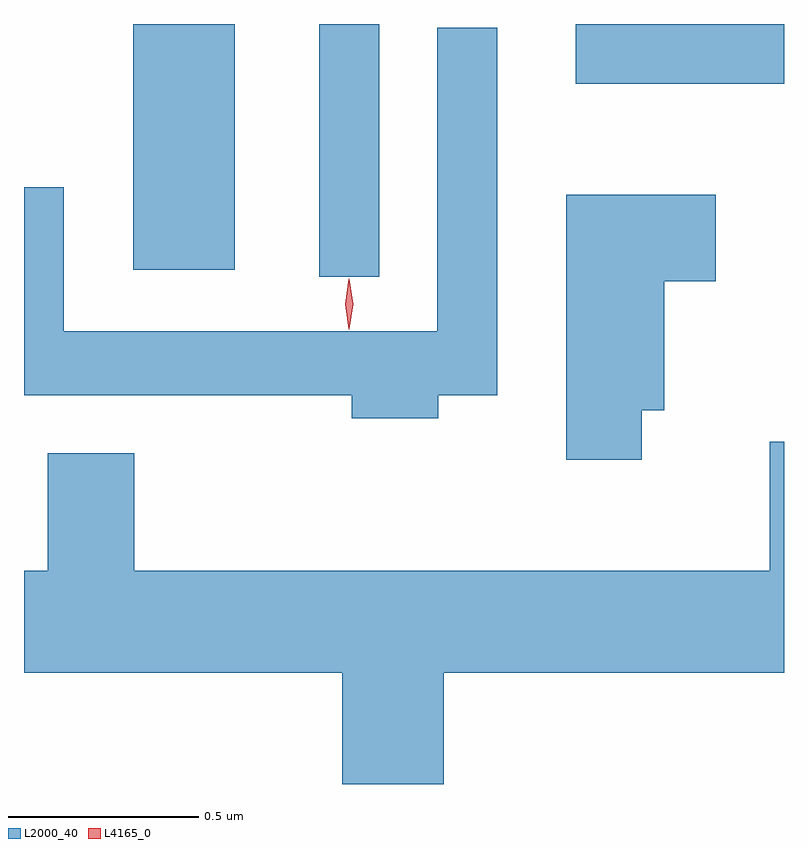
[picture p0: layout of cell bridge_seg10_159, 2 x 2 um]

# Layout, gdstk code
import gdstk
lib = gdstk.Library(unit=1e-6, precision=1e-09)
def R(c, l, rs):  # rectangles x0, y0, x1, y1
    for r in rs: c.add(gdstk.rectangle(r[:2], r[2:], *l))
def P(c, l, *ps):  # polygons
    for p in ps: c.add(gdstk.Polygon(p, *l))
L2000_40 = (2000, 40)
L4165_0 = (4165, 0)

bridge_seg10_159 = lib.new_cell('bridge_seg10_159')
R(bridge_seg10_159, L2000_40, [(1633.596,2099.418,1633.754,2100.083), (1633.106,2099.436,1633.374,2100.083), (1634.271,2099.926,1634.819,2100.083)])
P(bridge_seg10_159, L2000_40, [(1633.909,2099.106),(1634.064,2099.106),(1634.064,2100.073),(1633.906,2100.073),(1633.906,2099.274),(1632.924,2099.274),(1632.924,2099.653),(1632.819,2099.653),(1632.819,2099.106),(1633.681,2099.106),(1633.681,2099.046),(1633.909,2099.046)],
  [(1634.444,2099.066),(1634.504,2099.066),(1634.504,2099.406),(1634.639,2099.406),(1634.639,2099.634),(1634.246,2099.634),(1634.246,2098.936),(1634.444,2098.936)],
  [(1633.924,2098.376),(1634.819,2098.376),(1634.819,2098.984),(1634.781,2098.984),(1634.781,2098.644),(1633.109,2098.644),(1633.109,2098.954),(1632.881,2098.954),(1632.881,2098.644),(1632.819,2098.644),(1632.819,2098.376),(1633.656,2098.376),(1633.656,2098.083),(1633.924,2098.083)])
P(bridge_seg10_159, L4165_0, [(1633.675,2099.279),(1633.674,2099.28),(1633.665,2099.346),(1633.674,2099.412),(1633.675,2099.413),(1633.675,2099.412),(1633.685,2099.346),(1633.675,2099.28)])

lib.write_gds('bridge_seg10_159.gds')
